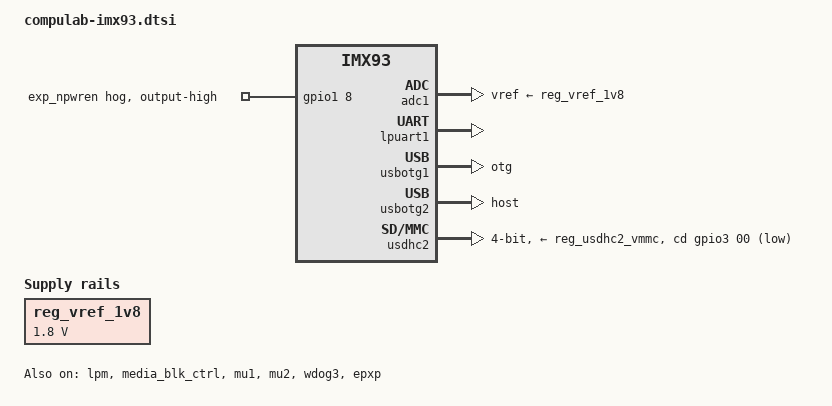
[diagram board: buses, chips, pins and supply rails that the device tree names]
// SPDX-License-Identifier: (GPL-2.0+ OR MIT)
/* Common CompuLab i.MX93 numbering and reserved-memory layout. */
#include <dt-bindings/usb/pd.h>
#include "../freescale/imx93.dtsi"
#include "compulab-imx93-pinctrl.dtsi"

&ele_fw2 {
	memory-region = <&ele_reserved>;
};

/ {
	aliases {
		ethernet0 = &eqos;
		ethernet1 = &fec;
		gpio0 = &gpio1;
		gpio1 = &gpio2;
		gpio2 = &gpio3;
		gpio3 = &gpio4;
		i2c0 = &lpi2c1;
		i2c1 = &lpi2c2;
		i2c2 = &lpi2c3;
		i2c3 = &lpi2c4;
		i2c4 = &lpi2c5;
		i2c5 = &lpi2c6;
		i2c6 = &lpi2c7;
		i2c7 = &lpi2c8;
		mmc0 = &usdhc1;
		mmc1 = &usdhc2;
		mmc2 = &usdhc3;
		rtc0 = &ab1805_rtc;
		rtc1 = &bbnsm_rtc;
		serial0 = &lpuart1;
		serial1 = &lpuart2;
		serial2 = &lpuart3;
		serial3 = &lpuart4;
		serial4 = &lpuart5;
		serial5 = &lpuart6;
		serial6 = &lpuart7;
		serial7 = &lpuart8;
	};

	chosen {
		stdout-path = &lpuart1;
	};

	reserved-memory {
		#address-cells = <2>;
		#size-cells = <2>;
		ranges;

		linux,cma {
			compatible = "shared-dma-pool";
			reusable;
			/* Base and size; keep CMA below the OP-TEE reservation. */
			alloc-ranges = <0 0x80000000 0 0x16000000>;
			size = <0 0x8000000>;
			linux,cma-default;
		};

		vdev0vring0: vdev0vring0@a4000000 {
			reg = <0 0xa4000000 0 0x8000>;
			no-map;
		};

		vdev0vring1: vdev0vring1@a4008000 {
			reg = <0 0xa4008000 0 0x8000>;
			no-map;
		};

		vdev1vring0: vdev1vring0@a4010000 {
			reg = <0 0xa4010000 0 0x8000>;
			no-map;
		};

		vdev1vring1: vdev1vring1@a4018000 {
			reg = <0 0xa4018000 0 0x8000>;
			no-map;
		};

		rsc_table: rsc-table@2021e000 {
			reg = <0 0x2021e000 0 0x1000>;
			no-map;
		};

		vdevbuffer: vdevbuffer@a4020000 {
			compatible = "shared-dma-pool";
			reg = <0 0xa4020000 0 0x100000>;
			no-map;
		};

		ele_reserved: ele-reserved@a4120000 {
			compatible = "shared-dma-pool";
			reg = <0 0xa4120000 0 0x100000>;
			no-map;
		};
	};

	reg_vref_1v8: regulator-adc-vref {
		compatible = "regulator-fixed";
		regulator-name = "vref_1v8";
		regulator-min-microvolt = <1800000>;
		regulator-max-microvolt = <1800000>;
	};
};

&adc1 {
	vref-supply = <&reg_vref_1v8>;
	status = "okay";
};

&lpm {
	soc-supply = <&buck1>;
    ld-mode-enabled;
	status = "okay";
};

&gpio1 {
	regulator-gpioexp {
		gpio-hog;
		gpios = <8 GPIO_ACTIVE_HIGH>;
		line-name = "exp_npwren";
		output-high;
		pinctrl-names = "default";
		pinctrl-0 = <&pinctrl_gpioexp>;
	};
};

&lpuart1 { /* console */
	pinctrl-names = "default";
	pinctrl-0 = <&pinctrl_uart1>;
	status = "okay";
};

&media_blk_ctrl {
	status = "okay";
};

&mu1 {
	status = "okay";
};

&mu2 {
	status = "okay";
};

&usbotg1 {
	dr_mode = "otg";
	disable-over-current;
	samsung,picophy-pre-emp-curr-control = <3>;
	samsung,picophy-dc-vol-level-adjust = <7>;
	status = "okay";
};

&usbotg2 {
	dr_mode = "host";
	hnp-disable;
	srp-disable;
	adp-disable;
	/*usb-role-switch;*/
	disable-over-current;
	samsung,picophy-pre-emp-curr-control = <3>;
	samsung,picophy-dc-vol-level-adjust = <7>;
	status = "okay";
};

&usdhc2 {
	pinctrl-names = "default", "state_100mhz", "state_200mhz";
	pinctrl-0 = <&pinctrl_usdhc2>, <&pinctrl_usdhc2_gpio>;
	pinctrl-1 = <&pinctrl_usdhc2>, <&pinctrl_usdhc2_gpio>;
	pinctrl-2 = <&pinctrl_usdhc2>, <&pinctrl_usdhc2_gpio>;
	cd-gpios = <&gpio3 00 GPIO_ACTIVE_LOW>;
	vmmc-supply = <&reg_usdhc2_vmmc>;
	bus-width = <4>;
	status = "okay";
	no-sdio;
	no-mmc;
};

&wdog3 {
	status = "okay";
};

&epxp {
	status = "okay";
};

&cpu_alert {
	temperature = <95000>;
};

&cpu_crit {
	temperature = <105000>;
};
